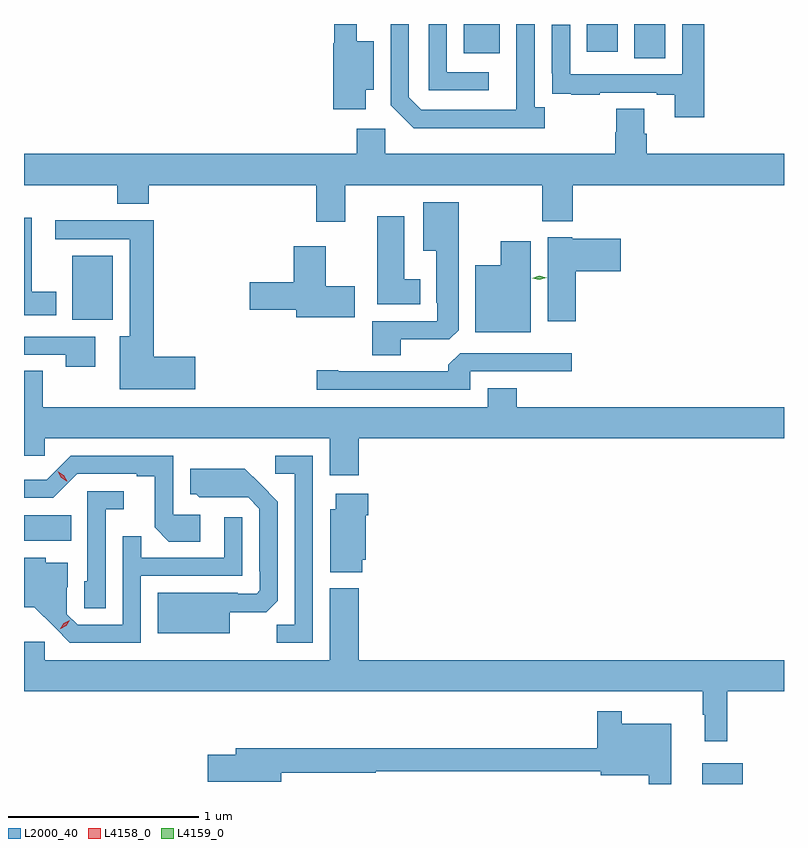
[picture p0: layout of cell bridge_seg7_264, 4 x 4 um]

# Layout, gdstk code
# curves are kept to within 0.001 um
import gdstk
lib = gdstk.Library(unit=1e-6, precision=1e-09)
def R(c, l, rs):  # rectangles x0, y0, x1, y1
    for r in rs: c.add(gdstk.rectangle(r[:2], r[2:], *l))
def P(c, l, *ps):  # polygons
    for p in ps: c.add(gdstk.Polygon(p, *l))
L2000_40 = (2000, 40)
L4158_0 = (4158, 0)
L4159_0 = (4159, 0)

bridge_seg7_264 = lib.new_cell('bridge_seg7_264')
R(bridge_seg7_264, L2000_40, [(151.733,1022.772,151.948,1022.881), (148.164,1024.052,148.412,1024.186), (148.418,1025.216,148.63,1025.551), (151.376,1026.592,151.54,1026.772), (150.479,1026.617,150.667,1026.772), (151.127,1026.627,151.288,1026.772)])
P(bridge_seg7_264, L2000_40, [(149.962,1026.425),(150.004,1026.425),(150.004,1026.682),(149.915,1026.682),(149.915,1026.772),(149.797,1026.772),(149.797,1026.672),(149.792,1026.672),(149.792,1026.324),(149.962,1026.324)],
  [(151.745,1026.772),(151.629,1026.772),(151.629,1026.507),(151.038,1026.507),(151.038,1026.769),(150.942,1026.769),(150.942,1026.514),(150.943,1026.514),(150.943,1026.405),(151.045,1026.405),(151.045,1026.399),(151.193,1026.399),(151.193,1026.411),(151.493,1026.411),(151.493,1026.399),(151.589,1026.399),(151.589,1026.282),(151.745,1026.282)],
  [(150.904,1026.334),(150.852,1026.334),(150.852,1026.772),(150.756,1026.772),(150.755,1026.321),(150.255,1026.321),(150.189,1026.387),(150.189,1026.772),(150.093,1026.772),(150.093,1026.345),(150.214,1026.224),(150.904,1026.224)],
  [(150.61,1026.519),(150.39,1026.519),(150.39,1026.772),(150.294,1026.772),(150.294,1026.423),(150.61,1026.423)],
  [(149.854,1025.924),(150.892,1025.924),(150.892,1025.735),(151.052,1025.735),(151.052,1025.924),(152.164,1025.924),(152.164,1026.088),(151.442,1026.088),(151.442,1026.194),(151.429,1026.194),(151.429,1026.326),(151.282,1026.326),(151.282,1026.201),(151.277,1026.201),(151.277,1026.088),(150.066,1026.088),(150.066,1026.22),(149.915,1026.22),(149.915,1026.088),(148.164,1026.088),(148.164,1025.924),(148.655,1025.924),(148.655,1025.825),(148.82,1025.825),(148.82,1025.924),(149.702,1025.924),(149.702,1025.73),(149.854,1025.73)],
  [(150.148,1025.112),(150.402,1025.112),(150.451,1025.161),(150.451,1025.833),(150.266,1025.833),(150.266,1025.579),(150.335,1025.579),(150.335,1025.305),(150.339,1025.305),(150.339,1025.208),(149.996,1025.208),(149.996,1025.029),(150.148,1025.029)],
  [(150.25,1025.428),(150.166,1025.428),(150.166,1025.761),(150.023,1025.761),(150.023,1025.297),(150.25,1025.297)],
  [(148.333,1025.362),(148.204,1025.362),(148.204,1025.752),(148.164,1025.752),(148.164,1025.24),(148.333,1025.24)],
  [(149.065,1025.021),(148.847,1025.021),(148.847,1025.738),(148.329,1025.738),(148.329,1025.64),(148.721,1025.64),(148.721,1025.128),(148.667,1025.128),(148.667,1024.85),(149.065,1024.85)],
  [(151.067,1025.471),(151.306,1025.471),(151.306,1025.641),(151.05,1025.641),(151.05,1025.65),(150.92,1025.65),(150.92,1025.208),(151.067,1025.208)],
  [(150.832,1025.629),(150.674,1025.629),(150.674,1025.503),(150.539,1025.503),(150.539,1025.15),(150.832,1025.15)],
  [(149.905,1025.391),(149.752,1025.391),(149.752,1025.602),(149.585,1025.602),(149.585,1025.414),(149.352,1025.414),(149.352,1025.267),(149.597,1025.267),(149.597,1025.228),(149.905,1025.228)],
  [(148.54,1025.127),(148.164,1025.127),(148.164,1025.031),(148.384,1025.031),(148.384,1024.968),(148.54,1024.968)],
  [(150.513,1024.944),(151.048,1024.944),(151.048,1025.04),(150.459,1025.04),(150.398,1024.978),(150.398,1024.944),(149.818,1024.944),(149.818,1024.949),(149.706,1024.949),(149.706,1024.848),(150.513,1024.848)],
  [(149.927,1024.592),(152.164,1024.592),(152.164,1024.756),(150.758,1024.756),(150.758,1024.855),(150.605,1024.855),(150.605,1024.756),(148.263,1024.756),(148.263,1024.946),(148.164,1024.946),(148.164,1024.499),(148.272,1024.499),(148.272,1024.592),(149.774,1024.592),(149.774,1024.398),(149.927,1024.398)],
  [(149.092,1024.188),(148.95,1024.188),(148.95,1024.5),(148.41,1024.5),(148.284,1024.374),(148.164,1024.374),(148.164,1024.278),(148.317,1024.278),(148.443,1024.404),(148.757,1024.404),(148.757,1024.392),(148.851,1024.392),(148.851,1024.124),(148.927,1024.048),(149.092,1024.048)],
  [(149.685,1024.5),(149.487,1024.5),(149.487,1024.404),(149.589,1024.404),(149.589,1023.611),(149.494,1023.611),(149.494,1023.516),(149.685,1023.516)],
  [(149.248,1023.677),(149.44,1023.677),(149.499,1023.736),(149.499,1024.258),(149.327,1024.432),(149.039,1024.432),(149.039,1024.296),(149.07,1024.296),(149.086,1024.28),(149.343,1024.281),(149.403,1024.221),(149.403,1023.892),(149.406,1023.892),(149.406,1023.792),(149.388,1023.774),(149.288,1023.774),(149.288,1023.778),(148.868,1023.778),(148.868,1023.566),(149.248,1023.566)],
  [(148.593,1024.217),(148.69,1024.217),(148.69,1024.314),(148.497,1024.314),(148.497,1023.84),(148.482,1023.84),(148.482,1023.697),(148.593,1023.697)],
  [(149.944,1023.951),(149.962,1023.951),(149.962,1024.187),(149.975,1024.187),(149.975,1024.3),(149.804,1024.3),(149.804,1024.218),(149.777,1024.218),(149.777,1023.887),(149.944,1023.887)],
  [(148.779,1023.867),(149.313,1023.867),(149.313,1024.177),(149.217,1024.177),(149.217,1023.963),(148.781,1023.963),(148.781,1024.076),(148.683,1024.076),(148.683,1023.609),(148.446,1023.609),(148.389,1023.666),(148.389,1023.808),(148.393,1023.808),(148.393,1023.937),(148.278,1023.937),(148.278,1023.964),(148.164,1023.964),(148.164,1023.701),(148.219,1023.701),(148.406,1023.516),(148.779,1023.516)],
  [(151.865,1023.26),(152.164,1023.26),(152.164,1023.424),(149.927,1023.424),(149.927,1023.802),(149.774,1023.802),(149.774,1023.424),(148.272,1023.424),(148.272,1023.52),(148.164,1023.52),(148.164,1023.26),(151.737,1023.26),(151.737,1023.137),(151.748,1023.137),(151.748,1022.997),(151.865,1022.997)],
  [(151.57,1023.088),(151.309,1023.088),(151.309,1023.154),(151.18,1023.154),(151.18,1022.959),(149.279,1022.959),(149.279,1022.925),(149.13,1022.925),(149.13,1022.783),(149.518,1022.783),(149.518,1022.83),(150.014,1022.83),(150.014,1022.838),(151.199,1022.838),(151.199,1022.819),(151.453,1022.819),(151.453,1022.772),(151.57,1022.772)])
P(bridge_seg7_264, L4158_0, [(148.356,1023.589),(148.356,1023.589),(148.374,1023.619),(148.404,1023.633),(148.405,1023.633),(148.405,1023.633),(148.387,1023.604),(148.357,1023.589)],
  [(148.39,1024.365),(148.359,1024.384),(148.342,1024.417),(148.342,1024.417),(148.342,1024.417),(148.374,1024.398),(148.391,1024.365),(148.391,1024.365)])
P(bridge_seg7_264, L4159_0, [(150.876,1025.426),(150.838,1025.435),(150.838,1025.435),(150.838,1025.435),(150.876,1025.446),(150.914,1025.437),(150.914,1025.437),(150.914,1025.436)])

lib.write_gds('bridge_seg7_264.gds')
